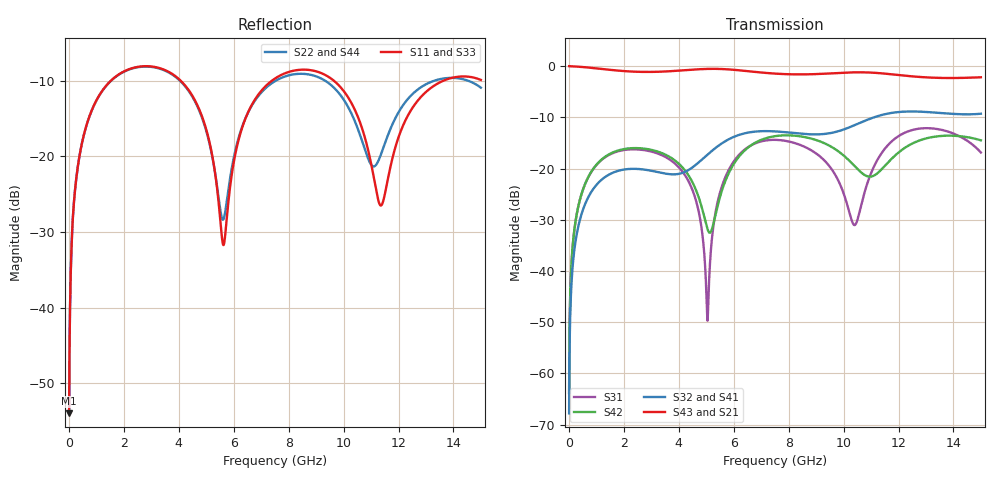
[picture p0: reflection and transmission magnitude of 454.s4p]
! Created with skrf 1.8.0 (http://scikit-rf.org).
# GHz S RI R 50.0
!freq ReS11 ImS11 ReS12 ImS12 ReS13 ImS13
! ReS14 ImS14
! ReS21 ImS21 ReS22 ImS22 ReS23 ImS23
! ReS24 ImS24
! ReS31 ImS31 ReS32 ImS32 ReS33 ImS33
! ReS34 ImS34
! ReS41 ImS41 ReS42 ImS42 ReS43 ImS43
! ReS44 ImS44
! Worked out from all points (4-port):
!   2499 points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, 5 MHz to 15 GHz, reference 50 ohm
!   strongest paths, dB at 5 MHz, 3.476 GHz, 7.19 GHz, 11.1 GHz, 15 GHz:
!     S43: 0.0, -1.1, -1.3, -1.3, -2.2
!     S21: 0.0, -1.1, -1.3, -1.3, -2.2
!     S32: -67.8, -21.0, -12.7, -10.0, -9.3
!     S41: -67.8, -21.1, -12.8, -10.0, -9.4
!     S42: -63.8, -17.2, -14.1, -21.4, -14.5
!     S31: -63.8, -17.6, -14.5, -19.7, -16.9
!   lowest |S11| = -53.9 dB at 5 MHz (marker M1), VSWR 1.00, Z = 50.2 + j0.122 ohm
!   |S11| at or under -10 dB: start of sweep to 1.523 GHz; 4.07 GHz to 7.386 GHz (3.316 GHz wide, 57.9 % of centre); 9.648 GHz to 13.63 GHz (3.981 GHz wide, 34.2 % of centre)
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0.005  0.0016 0.00122  0.9984 -0.00311  8.03e-05 0.000639  -7.81e-05 -0.0004
       0.9984 -0.00311  0.0016 0.00122  -7.81e-05 -0.0004  8.04e-05 0.000639
       8.03e-05 0.000639  -7.81e-05 -0.0004  0.0016 0.00122  0.9984 -0.00311
       -7.81e-05 -0.0004  8.04e-05 0.000639  0.9984 -0.00311  0.0016 0.00122
0.3126303  0.0231 0.0801  0.9685 -0.194  0.0103 0.0381  -0.00882 -0.0236
           0.9685 -0.194  0.023 0.0801  -0.00883 -0.0236  0.0109 0.038
           0.0103 0.0381  -0.00883 -0.0236  0.0231 0.0801  0.9685 -0.194
           -0.00882 -0.0236  0.0109 0.038  0.9685 -0.194  0.023 0.0801
1.519383  0.2575 0.1828  0.5789 -0.7118  0.1198 0.0695  -0.0881 -0.0112
          0.5789 -0.7118  0.2552 0.1842  -0.0883 -0.011  0.1263 0.0614
          0.1198 0.0695  -0.0883 -0.011  0.2573 0.1829  0.579 -0.7118
          -0.0881 -0.0112  0.1263 0.0614  0.579 -0.7118  0.2553 0.1841
5.0396  0.0648 -0.1258  -0.8622 -0.3713  0.00329 0.000349  -0.0513 0.1263
        -0.8622 -0.3713  0.075 -0.1167  -0.048 0.1276  -0.0219 -0.0138
        0.00329 0.000349  -0.048 0.1276  0.0654 -0.125  -0.8622 -0.3713
        -0.0513 0.1263  -0.0219 -0.0138  -0.8622 -0.3713  0.0739 -0.1167
6.008754  0.0517 0.0778  -0.9062 0.1571  0.0495 0.1071  0.0477 0.1981
          -0.9062 0.1571  0.0633 0.0769  0.0525 0.1971  0.0428 0.1032
          0.0495 0.1071  0.0525 0.1971  0.0521 0.0775  -0.9063 0.1569
          0.0477 0.1981  0.0428 0.1032  -0.9063 0.1569  0.0628 0.0778
8.772405  0.3672 -0.061  0.0311 0.8308  0.1479 -0.0409  0.2013 -0.0691
          0.0311 0.8308  0.3449 -0.0389  0.2011 -0.0784  0.1439 -0.1355
          0.1479 -0.0409  0.2011 -0.0784  0.3641 -0.0583  0.0305 0.8316
          0.2013 -0.0691  0.1439 -0.1355  0.0305 0.8316  0.3446 -0.0417
15  0.3016 -0.1079  -0.1853 -0.7549  0.1051 -0.0975  -0.3171 0.119
    -0.1853 -0.7549  0.2637 -0.1077  -0.3107 0.1447  0.063 -0.1776
    0.1051 -0.0975  -0.3107 0.1447  0.2987 -0.0992  -0.1826 -0.7561
    -0.3171 0.119  0.063 -0.1776  -0.1826 -0.7561  0.2633 -0.1154
